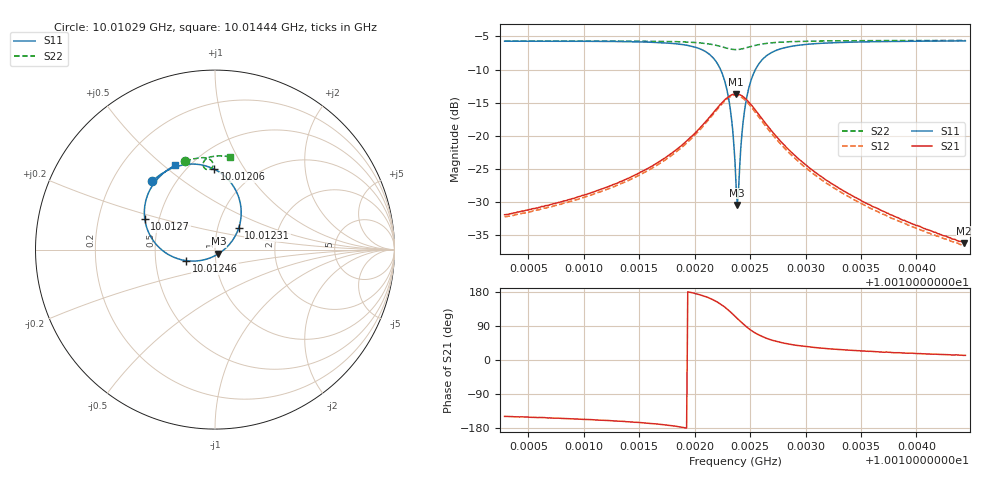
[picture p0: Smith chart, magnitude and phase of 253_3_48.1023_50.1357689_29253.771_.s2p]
#  HZ  S  RI  R  50.00
! Rohde & Schwarz Vector Network Analyzer
! Rohde-Schwarz,ZNB20-2Port,1311601062101988,3.16
! Created: UTC 12/23/2023, 4:00:00 AM
! freq[Hz]  re:S11  im:S11  re:S21  im:S21  re:S12  im:S12  re:S22  im:S22
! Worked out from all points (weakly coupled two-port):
!   401 points, 10.01029 GHz to 10.01444 GHz, reference 50 ohm
!   highest |S21| = -13.67 dB at 10.01237 GHz (marker M1); lowest = -36.2 dB at 10.01443 GHz (marker M2)
!   lowest |S11| = -30.4 dB at 10.01238 GHz (marker M3), VSWR 1.06, Z = 51.9 - j2.44 ohm
!   |S11| at or under -10 dB: 10.01223 GHz to 10.01255 GHz (315.1 kHz wide, 0.00315 % of centre)
!   |S22| runs from -7.0 to -5.6 dB; largest |S21 - S12| = 0.01
!   S11 on the Smith chart (normalised r, x): 10.01029 GHz: 0.37, +0.39; 10.01206 GHz: 0.66, +0.74; 10.01231 GHz: 1.26, +0.32; 10.01246 GHz: 0.72, -0.09; 10.0127 GHz: 0.42, +0.17; 10.01444 GHz: 0.43, +0.55
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1.0010285e10  -0.35 0.3804  -0.0217 -0.0132  -0.0203 -0.0137  -0.1645 0.4923
1.0010981e10  -0.2937 0.4248  -0.0325 -0.0141  -0.0303 -0.0151  -0.1185 0.5056
1.0011677e10  -0.1824 0.471  -0.0626 -0.0117  -0.0597 -0.0144  -0.0651 0.5122
1.0012062e10  -0.00348 0.4475  -0.1166 0.0192  -0.1139 0.0121  -0.0249 0.5002
1.0012218e10  0.1247 0.311  -0.1456 0.0831  -0.1465 0.0734  -0.0113 0.4757
1.001227e10  0.146 0.2157  -0.1428 0.1196  -0.1453 0.1107  -0.013 0.463
1.0012311e10  0.1328 0.1219  -0.1274 0.1528  -0.1307 0.1451  -0.0195 0.4532
1.0012342e10  0.0979 0.0518  -0.1067 0.1752  -0.1117 0.1671  -0.0271 0.4478
1.0012363e10  0.0627 0.0105  -0.0892 0.1868  -0.0942 0.1793  -0.0335 0.4458
1.0012374e10  0.0401 -0.0088  -0.0789 0.1916  -0.0847 0.1839  -0.0368 0.4455
1.0012384e10  0.019 -0.0235  -0.0694 0.1946  -0.0742 0.1879  -0.0403 0.4456
1.0012394e10  -0.00683 -0.0376  -0.0587 0.1973  -0.0644 0.1904  -0.0434 0.4458
1.0012405e10  -0.0307 -0.0477  -0.0491 0.1985  -0.0529 0.1921  -0.0467 0.4466
1.0012436e10  -0.1092 -0.0639  -0.0189 0.1965  -0.0238 0.1904  -0.0552 0.4511
1.0012457e10  -0.1588 -0.0619  -0.000419 0.191  -0.00585 0.1851  -0.0596 0.4554
1.0012498e10  -0.2436 -0.0361  0.0293 0.1733  0.0232 0.168  -0.0649 0.4651
1.001255e10  -0.3189 0.0194  0.052 0.1462  0.045 0.1421  -0.0664 0.4773
1.0012696e10  -0.3911 0.1688  0.0663 0.086  0.0599 0.0842  -0.0551 0.5002
1.0013059e10  -0.3598 0.338  0.0459 0.0307  0.0424 0.0313  -0.0192 0.5178
1.0013755e10  -0.2808 0.4313  0.024 0.00887  0.0225 0.00968  0.0345 0.5215
1.0014431e10  -0.2229 0.4697  0.0152 0.00326  0.0143 0.00403  0.0809 0.5177
1.0014441e10  -0.2222 0.4701  0.0153 0.00332  0.0142 0.00394  0.0815 0.5175
